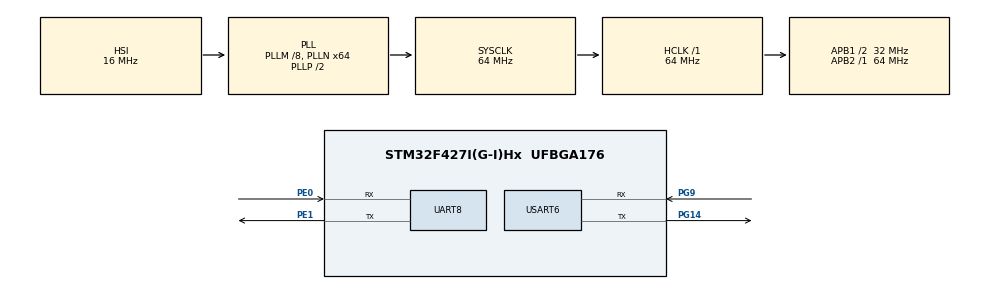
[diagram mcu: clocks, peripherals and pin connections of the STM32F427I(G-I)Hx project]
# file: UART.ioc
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Mcu.Family=STM32F4
Mcu.Name=STM32F427I(G-I)Hx
Mcu.Package=UFBGA176
NVIC.PriorityGroup=NVIC_PRIORITYGROUP_4
NVIC.UART8_IRQn=true\:0\:0\:false\:false\:true\:true\:true
NVIC.USART6_IRQn=true\:0\:0\:false\:false\:true\:true\:true
PC14/OSC32_IN.Mode=LSE-External-Oscillator
PC14/OSC32_IN.Signal=RCC_OSC32_IN
PC15/OSC32_OUT.Mode=LSE-External-Oscillator
PC15/OSC32_OUT.Signal=RCC_OSC32_OUT
PE0.GPIO_PuPd=GPIO_PULLUP
PE0.GPIO_Speed=GPIO_SPEED_FREQ_HIGH
PE0.Mode=Asynchronous
PE0.Signal=UART8_RX
PE1.GPIO_PuPd=GPIO_PULLUP
PE1.GPIO_Speed=GPIO_SPEED_FREQ_HIGH
PE1.Mode=Asynchronous
PE1.Signal=UART8_TX
PG14.GPIO_PuPd=GPIO_PULLUP
PG14.GPIO_Speed=GPIO_SPEED_FREQ_HIGH
PG14.Mode=Asynchronous
PG14.Signal=USART6_TX
PG9.GPIO_PuPd=GPIO_PULLUP
PG9.GPIO_Speed=GPIO_SPEED_FREQ_HIGH
PG9.Mode=Asynchronous
PG9.Signal=USART6_RX
ProjectManager.HeapSize=0x200
ProjectManager.StackSize=0x400
ProjectManager.TargetToolchain=MDK-ARM V5
RCC.48MHZClocksFreq_Value=32000000
RCC.AHBFreq_Value=64000000
RCC.APB1CLKDivider=RCC_HCLK_DIV2
RCC.APB1Freq_Value=32000000
RCC.APB1TimFreq_Value=64000000
RCC.APB2Freq_Value=64000000
RCC.APB2TimFreq_Value=64000000
RCC.CortexFreq_Value=64000000
RCC.HCLKFreq_Value=64000000
RCC.HSE_VALUE=25000000
RCC.HSI_VALUE=16000000
RCC.PLLM=8
RCC.PLLN=64
RCC.SYSCLKFreq_VALUE=64000000
RCC.SYSCLKSource=RCC_SYSCLKSOURCE_PLLCLK
RCC.VCOOutputFreq_Value=128000000
UART8.VirtualMode=Asynchronous
USART6.VirtualMode=VM_ASYNC
board=custom

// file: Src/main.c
/* USER CODE BEGIN Header */
/**
  ******************************************************************************
  * @file           : main.c
  * @brief          : Main program body
  ******************************************************************************
  * @attention
  *
  * <h2><center>&copy; Copyright (c) 2021 STMicroelectronics.
  * All rights reserved.</center></h2>
  *
  * This software component is licensed by ST under BSD 3-Clause license,
  * the "License"; You may not use this file except in compliance with the
  * License. You may obtain a copy of the License at:
  *                        opensource.org/licenses/BSD-3-Clause
  *
  ******************************************************************************
  */
/* USER CODE END Header */
#include "main.h"
#include "usart.h"
#include "gpio.h"
#include <math.h>

void SystemClock_Config(void);
/* USER CODE BEGIN PFP */

uint8_t RxBuffer[11]; // buffer for data received
uint8_t pBuffer = 0; // data counter
uint8_t data; // single data received
uint8_t sum = 0; // sum of the data in buffer

double angleY_DEC = 0.0; // Y angle in HEX
uint8_t angleY_ASCII[8] = {43,48,48,48,46,48,48,48}; // Y angle in ASCII; +xxx.xxx or -xxx.xxx

uint8_t enter[2] = {0x0D, 0x0A}; // carriage return

uint8_t freq_DEC = 0; // transmission frequency
uint8_t freq_ASCII[3] = {48,48,48};
uint8_t bit;

/* USER CODE END PFP */

int main(void)
{

  /* MCU Configuration--------------------------------------------------------*/

  /* Reset of all peripherals, Initializes the Flash interface and the Systick. */
  HAL_Init();

  /* Configure the system clock */
  SystemClock_Config();

  /* Initialize all configured peripherals */
  MX_GPIO_Init();
  MX_UART8_Init();
  MX_USART6_UART_Init();
  /* USER CODE BEGIN 2 */
	HAL_UART_Receive_IT(&huart6, &data, 1); // open the reception interruption
  /* USER CODE END 2 */

  /* Infinite loop */
  /* USER CODE BEGIN WHILE */
	uint32_t timer_DEC = 0;
	uint8_t bit = 0;

	timer_DEC = HAL_GetTick(); // start from board powered, maximum approximately 1193 hours
  while (1)
  {
		if(HAL_GetTick() - timer_DEC > 999){ // 1000 ms passed
			timer_DEC = HAL_GetTick(); // modify timer
			for(int i = 0; i < 3; ++i){
				bit = (uint8_t)(freq_DEC / pow(10, 2-i) + 48); // convert to ASCII value bitwise
		    freq_ASCII[i] = bit; // assignment
				freq_DEC -= (bit-48) * pow(10, 2-i);
			}
			// HAL_UART_Transmit(&huart8, freq_ASCII, 3, 0xFFFF); // print frequency
			// HAL_UART_Transmit(&huart8, enter, 2, 0xFFFF); // \r\n
			freq_DEC = 0; // clear frequency count
		}
    /* USER CODE END WHILE */

  }
}

void SystemClock_Config(void)
{
  RCC_OscInitTypeDef RCC_OscInitStruct = {0};
  RCC_ClkInitTypeDef RCC_ClkInitStruct = {0};

  /** Configure the main internal regulator output voltage
  */
  __HAL_RCC_PWR_CLK_ENABLE();
  __HAL_PWR_VOLTAGESCALING_CONFIG(PWR_REGULATOR_VOLTAGE_SCALE3);
  /** Initializes the RCC Oscillators according to the specified parameters
  * in the RCC_OscInitTypeDef structure.
  */
  RCC_OscInitStruct.OscillatorType = RCC_OSCILLATORTYPE_HSI;
  RCC_OscInitStruct.HSIState = RCC_HSI_ON;
  RCC_OscInitStruct.HSICalibrationValue = RCC_HSICALIBRATION_DEFAULT;
  RCC_OscInitStruct.PLL.PLLState = RCC_PLL_ON;
  RCC_OscInitStruct.PLL.PLLSource = RCC_PLLSOURCE_HSI;
  RCC_OscInitStruct.PLL.PLLM = 8;
  RCC_OscInitStruct.PLL.PLLN = 64;
  RCC_OscInitStruct.PLL.PLLP = RCC_PLLP_DIV2;
  RCC_OscInitStruct.PLL.PLLQ = 4;
  if (HAL_RCC_OscConfig(&RCC_OscInitStruct) != HAL_OK)
  {
    Error_Handler();
  }
  /** Initializes the CPU, AHB and APB buses clocks
  */
  RCC_ClkInitStruct.ClockType = RCC_CLOCKTYPE_HCLK|RCC_CLOCKTYPE_SYSCLK
                              |RCC_CLOCKTYPE_PCLK1|RCC_CLOCKTYPE_PCLK2;
  RCC_ClkInitStruct.SYSCLKSource = RCC_SYSCLKSOURCE_PLLCLK;
  RCC_ClkInitStruct.AHBCLKDivider = RCC_SYSCLK_DIV1;
  RCC_ClkInitStruct.APB1CLKDivider = RCC_HCLK_DIV2;
  RCC_ClkInitStruct.APB2CLKDivider = RCC_HCLK_DIV1;

  if (HAL_RCC_ClockConfig(&RCC_ClkInitStruct, FLASH_LATENCY_2) != HAL_OK)
  {
    Error_Handler();
  }
}

/* USER CODE BEGIN 4 */
void HAL_UART_RxCpltCallback(UART_HandleTypeDef *huart)
{
	if(huart->Instance == USART6){
		if(data == 0x55){ // head of packet
			pBuffer = 0; // set 0x55 as head
			memset(RxBuffer, 0, 11*sizeof(uint8_t)); // clear the buffer (p.s. sizeof returns the bytes字节 a value have, not bits)
			RxBuffer[pBuffer++] = data; // save 0x55 and move the pointer
			sum = data; // calculate sum of the buffer data by data
		}
		else{
			RxBuffer[pBuffer++] = data; // save the data and move the pointer
			if(pBuffer == 11){ // end of the buffer, also should be end of the packet
				if(sum == data && RxBuffer[1] == 0x53){ // packet is correct
					freq_DEC += 1;
					angleY_DEC = ((int)((RxBuffer[5]<<8)|RxBuffer[4])/32768.0*180); // Y axis of angle; converted
					if(angleY_DEC > 180){
						angleY_DEC = 360 - angleY_DEC;
						angleY_ASCII[0] = (uint8_t)45;
					}
					else
						angleY_ASCII[0] = (uint8_t)43;
					uint8_t bit; // bitwise value
					for(int i = 0; i < 3; ++i){ // integral bits
						bit = (uint8_t)(angleY_DEC / pow(10, 2-i) + 48); // convert to ASCII value bitwise
						angleY_ASCII[i+1] = bit; // assignment
						angleY_DEC -= (bit-48) * pow(10, 2-i);
					}
					for(int i = 4; i < 7; ++i){ // decimal bits; same as above
						bit = (uint8_t)(angleY_DEC / pow(10, 3-i) + 48);
						angleY_ASCII[i+1] = bit;
						angleY_DEC -= (bit-48) * pow(10, 3-i);
					}
					HAL_UART_Transmit(&huart8, angleY_ASCII, 8, 0xFFFF); // transmit
					HAL_UART_Transmit(&huart8, enter, 2, 0xFFFF); // carriage return

					pBuffer = 0; // move the point to head of the buffer
					sum = 0; // clear sum of the buffer
				}
			}
			else // middle of the buffer
				sum += data; // calculate sum of the buffer data by data
		}
	}

	HAL_UART_Receive_IT(&huart6, (uint8_t *)&data, 1); // re-open the reception interruption
}
/* USER CODE END 4 */

void Error_Handler(void)
{
  __disable_irq();
  while (1)
  {
  }
}

/************************ (C) COPYRIGHT STMicroelectronics *****END OF FILE****/
